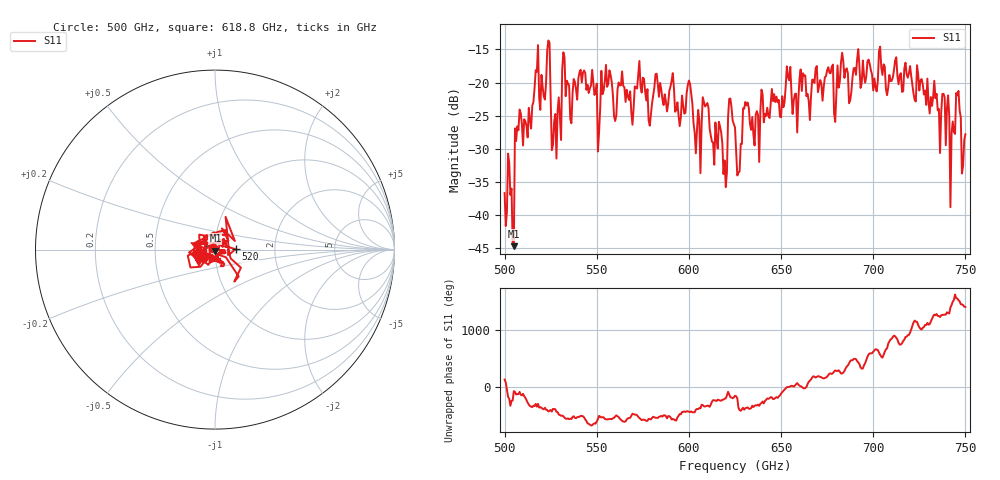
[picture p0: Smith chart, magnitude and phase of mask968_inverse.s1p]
!Created with skrf (http://scikit-rf.org).
# GHz S MA R 50.0
!freq magS11 angS11
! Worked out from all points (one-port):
!   401 points, 500 GHz to 750 GHz, reference 50 ohm
!   lowest |S11| = -44.8 dB at 505 GHz (marker M1), VSWR 1.01, Z = 50.2 - j0.531 ohm
!   |S11| at or under -10 dB: start of sweep to end of sweep
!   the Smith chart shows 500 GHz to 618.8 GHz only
!   S11 on the Smith chart (normalised r, x): 500 GHz: 0.98, +0.02; 520 GHz: 1.26, +0.01; 618.8 GHz: 0.97, +0.02
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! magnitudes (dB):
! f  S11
! 500 GHz  -36.7
! 505 GHz  -44.8
! 506.9 GHz  -26.6
! 520 GHz  -18.8
! 523.8 GHz  -13.6
! 526.9 GHz  -26.0
! 531.2 GHz  -18.1
! 542.5 GHz  -18.5
! 550.6 GHz  -30.4
! 562.5 GHz  -20.4
! 579.4 GHz  -24.8
! 590.6 GHz  -19.7
! 593.8 GHz  -23.0
! 600 GHz  -19.7
! 605 GHz  -24.1
! 608.8 GHz  -23.6
! 618.8 GHz  -33.8
! 622.5 GHz  -22.4
! 625 GHz  -26.8
! 627.5 GHz  -33.4
! 630.6 GHz  -22.9
! 636.9 GHz  -24.3
! 656.2 GHz  -24.7
! 687.5 GHz  -22.7
! 718.8 GHz  -19.3
! 743.1 GHz  -25.9
! 746.2 GHz  -21.3
! 750 GHz  -27.8
